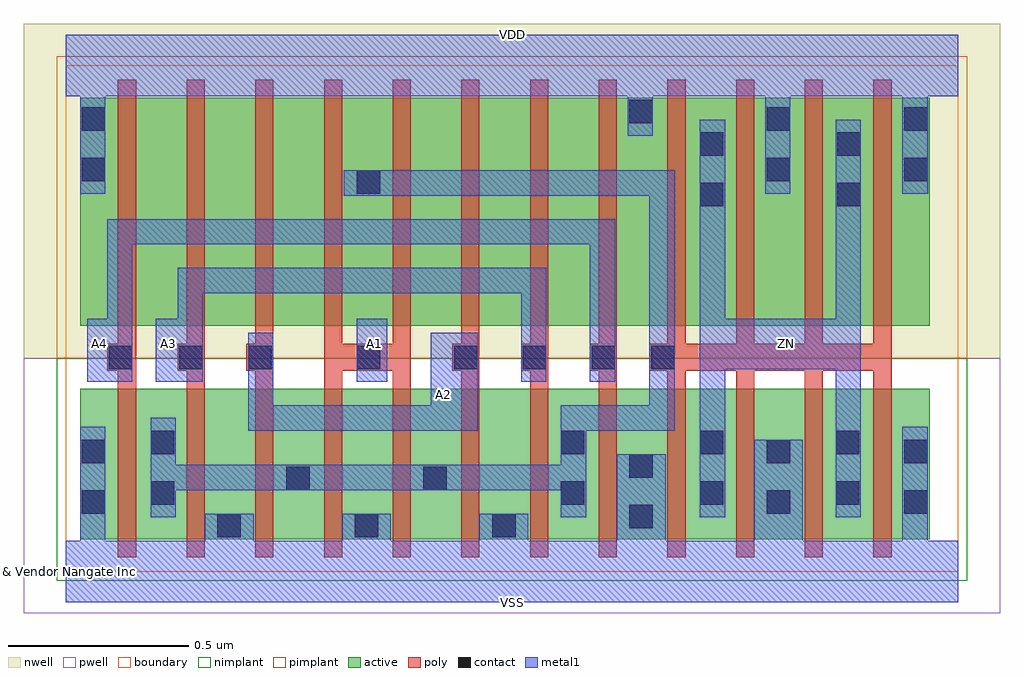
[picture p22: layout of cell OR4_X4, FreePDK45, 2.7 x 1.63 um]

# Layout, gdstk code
import gdstk
lib = gdstk.Library(unit=1e-6, precision=1e-10)
def R(c, l, rs):  # rectangles x0, y0, x1, y1
    for r in rs: c.add(gdstk.rectangle(r[:2], r[2:], *l))
def A(c, l, x, y, w, h, nx, ny, dx, dy):  # array of equal rectangles
    R(c, l, [(x+i*dx, y+j*dy, x+i*dx+w, y+j*dy+h) for i in range(nx) for j in range(ny)])
def P(c, l, *ps):  # polygons
    for p in ps: c.add(gdstk.Polygon(p, *l))
active = (1, 0)
pwell = (2, 0)
nwell = (3, 0)
nimplant = (4, 0)
pimplant = (5, 0)
poly = (9, 0)
contact = (10, 0)
metal1 = (11, 0)
boundary = (235, 0)

or4_x4 = lib.new_cell('OR4_X4')
R(or4_x4, active, [(0.04,0.09,2.39,0.505), (0.04,0.68,2.39,1.31)])
R(or4_x4, pwell, [(-0.115,-0.115,2.585,0.59)])
R(or4_x4, nwell, [(-0.115,0.59,2.585,1.515)])
R(or4_x4, nimplant, [(-0.025,-0.025,2.495,0.59)])
R(or4_x4, pimplant, [(-0.025,0.59,2.495,1.425)])
P(or4_x4, poly, [(0.145,0.04),(0.145,0.555),(0.115,0.555),(0.115,0.63),(0.145,0.63),(0.145,1.36),(0.195,1.36),(0.195,0.04)],
  [(0.335,0.04),(0.335,0.555),(0.31,0.555),(0.31,0.63),(0.335,0.63),(0.335,1.36),(0.385,1.36),(0.385,0.04)],
  [(0.525,0.04),(0.525,0.555),(0.5,0.555),(0.5,0.63),(0.525,0.63),(0.525,1.36),(0.575,1.36),(0.575,0.04)],
  [(0.715,0.04),(0.715,1.36),(0.765,1.36),(0.765,0.63),(0.905,0.63),(0.905,1.36),(0.955,1.36),(0.955,0.04),(0.905,0.04),(0.905,0.555),(0.765,0.555),(0.765,0.04)],
  [(1.095,0.04),(1.095,0.555),(1.07,0.555),(1.07,0.63),(1.095,0.63),(1.095,1.36),(1.145,1.36),(1.145,0.04)],
  [(1.285,0.04),(1.285,0.555),(1.26,0.555),(1.26,0.63),(1.285,0.63),(1.285,1.36),(1.335,1.36),(1.335,0.04)],
  [(1.475,0.04),(1.475,0.555),(1.45,0.555),(1.45,0.63),(1.475,0.63),(1.475,1.36),(1.525,1.36),(1.525,0.04)],
  [(1.665,0.04),(1.665,0.555),(1.615,0.555),(1.615,0.63),(1.665,0.63),(1.665,1.36),(1.715,1.36),(1.715,0.63),(1.855,0.63),(1.855,1.36),(1.905,1.36),(1.905,0.63),(2.045,0.63),(2.045,1.36),(2.095,1.36),(2.095,0.63),(2.235,0.63),(2.235,1.36),(2.285,1.36),(2.285,0.04),(2.235,0.04),(2.235,0.555),(2.095,0.555),(2.095,0.04),(2.045,0.04),(2.045,0.555),(1.905,0.555),(1.905,0.04),(1.855,0.04),(1.855,0.555),(1.715,0.555),(1.715,0.04)])
A(or4_x4, contact, 0.42, 0.095, 0.065, 0.065, 3, 1, 0.38, 0)
A(or4_x4, contact, 1.075, 0.56, 0.065, 0.065, 3, 1, 0.19, 0)
R(or4_x4, contact, [(1.56,0.12,1.625,0.185), (0.045,0.16,0.11,0.225), (1.94,0.16,2.005,0.225), (2.32,0.16,2.385,0.225), (0.235,0.185,0.3,0.25), (1.37,0.185,1.435,0.25), (1.755,0.185,1.82,0.25), (2.13,0.185,2.195,0.25), (0.61,0.225,0.675,0.29), (0.99,0.225,1.055,0.29), (1.56,0.26,1.625,0.325), (0.045,0.3,0.11,0.365), (1.94,0.3,2.005,0.365), (2.32,0.3,2.385,0.365), (0.235,0.325,0.3,0.39), (1.37,0.325,1.435,0.39), (1.755,0.325,1.82,0.39), (2.13,0.325,2.195,0.39), (0.12,0.56,0.185,0.625), (0.315,0.56,0.38,0.625), (0.505,0.56,0.57,0.625), (0.805,0.56,0.87,0.625), (1.62,0.56,1.685,0.625), (1.755,1.01,1.82,1.075), (2.135,1.01,2.2,1.075), (0.805,1.045,0.87,1.11), (0.045,1.08,0.11,1.145), (1.94,1.08,2.005,1.145), (2.32,1.08,2.385,1.145), (1.755,1.15,1.82,1.215), (2.135,1.15,2.2,1.215), (0.045,1.22,0.11,1.285), (1.94,1.22,2.005,1.285), (2.32,1.22,2.385,1.285), (1.56,1.24,1.625,1.305)])
R(or4_x4, metal1, [(0.805,0.525,0.89,0.7)])
P(or4_x4, metal1, [(0.505,0.39),(0.505,0.66),(0.575,0.66),(0.575,0.46),(1.01,0.46),(1.01,0.66),(1.14,0.66),(1.14,0.39)],
  [(0.25,0.525),(0.25,0.7),(0.31,0.7),(0.31,0.84),(1.33,0.84),(1.33,0.525),(1.26,0.525),(1.26,0.77),(0.38,0.77),(0.38,0.525)],
  [(0.06,0.525),(0.06,0.7),(0.115,0.7),(0.115,0.975),(1.52,0.975),(1.52,0.525),(1.45,0.525),(1.45,0.905),(0.185,0.905),(0.185,0.525)],
  [(0.235,0.15),(0.235,0.425),(0.305,0.425),(0.305,0.295),(1.37,0.295),(1.37,0.46),(1.615,0.46),(1.615,1.04),(0.77,1.04),(0.77,1.11),(1.685,1.11),(1.685,0.39),(1.44,0.39),(1.44,0.15),(1.37,0.15),(1.37,0.225),(0.305,0.225),(0.305,0.15)],
  [(1.755,0.15),(1.755,1.25),(1.825,1.25),(1.825,0.7),(2.13,0.7),(2.13,1.25),(2.2,1.25),(2.2,0.15),(2.13,0.15),(2.13,0.56),(1.825,0.56),(1.825,0.15)],
  [(0,-0.085),(0,0.085),(0.04,0.085),(0.04,0.4),(0.11,0.4),(0.11,0.085),(0.385,0.085),(0.385,0.16),(0.52,0.16),(0.52,0.085),(0.765,0.085),(0.765,0.16),(0.9,0.16),(0.9,0.085),(1.145,0.085),(1.145,0.16),(1.28,0.16),(1.28,0.085),(1.525,0.085),(1.525,0.325),(1.66,0.325),(1.66,0.085),(1.905,0.085),(1.905,0.365),(2.04,0.365),(2.04,0.085),(2.315,0.085),(2.315,0.4),(2.385,0.4),(2.385,0.085),(2.47,0.085),(2.47,-0.085)],
  [(0.04,1.045),(0.04,1.315),(0,1.315),(0,1.485),(2.47,1.485),(2.47,1.315),(2.385,1.315),(2.385,1.045),(2.315,1.045),(2.315,1.315),(2.005,1.315),(2.005,1.045),(1.935,1.045),(1.935,1.315),(1.625,1.315),(1.625,1.205),(1.555,1.205),(1.555,1.315),(0.11,1.315),(0.11,1.045)])
R(or4_x4, boundary, [(0,0,2.47,1.4)])
or4_x4.add(gdstk.Label('A1', (0.855,0.63), layer=11, texttype=0))
or4_x4.add(gdstk.Label('A2', (1.045,0.49), layer=11, texttype=0))
or4_x4.add(gdstk.Label('A3', (0.285,0.63), layer=11, texttype=0))
or4_x4.add(gdstk.Label('A4', (0.095,0.63), layer=11, texttype=0))
or4_x4.add(gdstk.Label('VDD', (1.235,1.485), layer=11, texttype=0))
or4_x4.add(gdstk.Label('VSS', (1.235,-0.085), layer=11, texttype=0))
or4_x4.add(gdstk.Label('ZN', (1.995,0.63), layer=11, texttype=0))
or4_x4.add(gdstk.Label('& Vendor Nangate Inc', (0,0), layer=63, texttype=63))
or4_x4.add(gdstk.Label('& Product Open Cell Library', (0,0), layer=63, texttype=63))
or4_x4.add(gdstk.Label('& Version 2010_12', (0,0), layer=63, texttype=63))
or4_x4.add(gdstk.Label('& Instance OR4_X4', (0,0), layer=63, texttype=63))

lib.write_gds('OR4_X4.gds')
